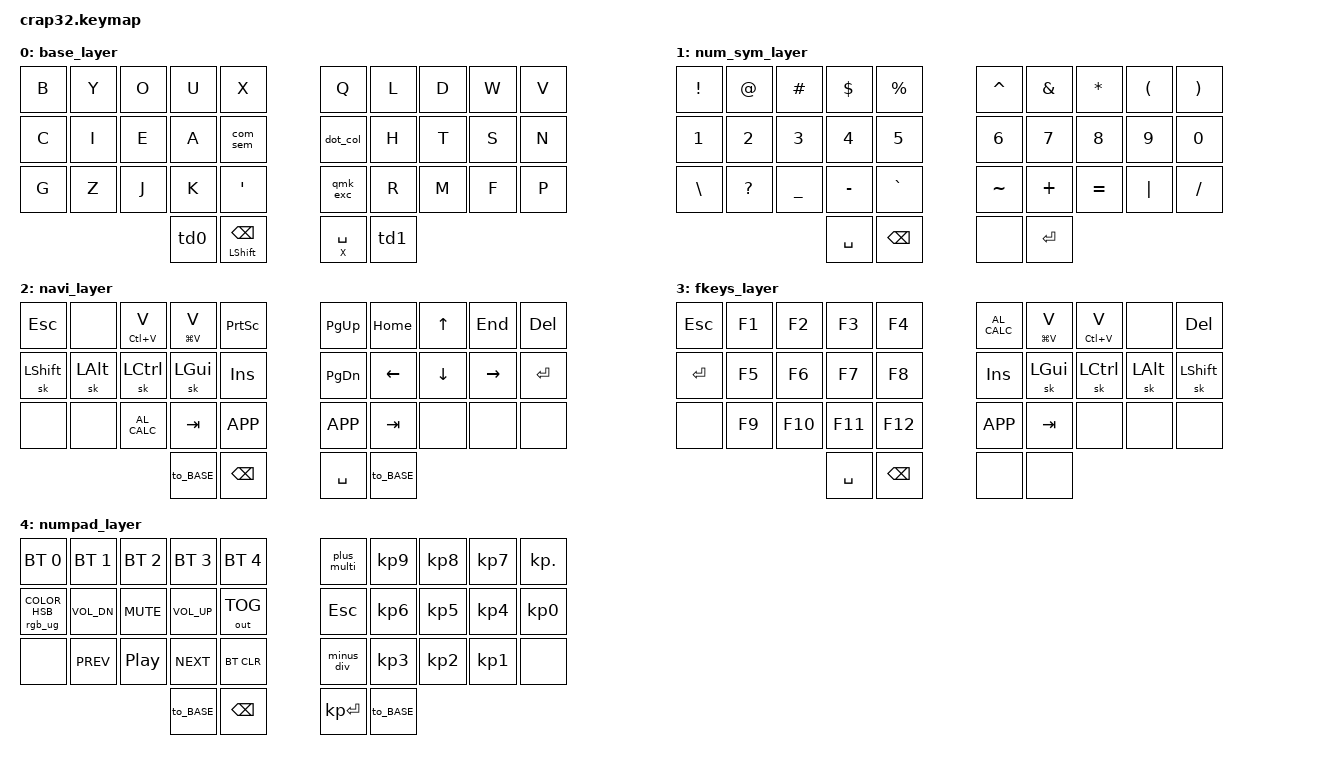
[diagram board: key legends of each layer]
/*
 * Copyright (c) 2021 The ZMK Contributors
 *
 * SPDX-License-Identifier: MIT
 */

#include <behaviors.dtsi>
#include <dt-bindings/zmk/keys.h>
#include <dt-bindings/zmk/bt.h>
#include <dt-bindings/zmk/rgb.h>
#include <dt-bindings/zmk/outputs.h>

#define _BASE    0
#define _NUM_SYM 1
#define _NAVI    2
#define _FKEYS   3
#define _NUMPAD  4

&sk {
    quick-release;
};

/ {
    macros {
        to_BASE: to_BASE {
            label = "ZM_to_BASE";
            compatible = "zmk,behavior-macro";
            #binding-cells = <0>;
            wait-ms = <0>;
            tap-ms = <0>;
            bindings
                = <&rgb_ug RGB_COLOR_HSB(30,95,2)>
                , <&to _BASE>
                ;
        };

        to_NAVI: to_NAVI {
            label = "ZM_to_NAVI";
            compatible = "zmk,behavior-macro";
            #binding-cells = <0>;
            wait-ms = <0>;
            tap-ms = <0>;
            bindings
                = <&rgb_ug RGB_COLOR_HSB(80,100,2)>
                , <&to _NAVI>
                ;
        };

        mo_NAVI: mo_NAVI {
            label = "ZM_mo_NAVI";
            compatible = "zmk,behavior-macro";
            #binding-cells = <0>;
            wait-ms = <0>;
            tap-ms = <0>;
            bindings
                = <&macro_tap &rgb_ug RGB_COLOR_HSB(80,100,2)>
                , <&macro_press &mo _NAVI>
                , <&macro_pause_for_release>
                , <&macro_tap &rgb_ug RGB_COLOR_HSB(30,95,2)>
                , <&macro_release &mo _NAVI>
                ;
        };

        mo_NUM_SYM: mo_NUM_SYM {
            label = "ZM_mo_NUM_SYM";
            compatible = "zmk,behavior-macro";
            #binding-cells = <0>;
            wait-ms = <0>;
            tap-ms = <0>;
            bindings
                = <&macro_tap &rgb_ug RGB_COLOR_HSB(10,95,2)>
                , <&macro_press &mo _NUM_SYM>
                , <&macro_pause_for_release>
                , <&macro_tap &rgb_ug RGB_COLOR_HSB(30,95,2)>
                , <&macro_release &mo _NUM_SYM>
                ;
        };

        mo_FKEYS: mo_FKEYS {
            label = "ZM_mo_FKEYS";
            compatible = "zmk,behavior-macro";
            #binding-cells = <0>;
            wait-ms = <0>;
            tap-ms = <0>;
            bindings
                = <&macro_tap &rgb_ug RGB_COLOR_HSB(270,100,2)>
                , <&macro_press &mo _FKEYS>
                , <&macro_pause_for_release>
                , <&macro_tap &rgb_ug RGB_COLOR_HSB(30,95,2)>
                , <&macro_release &mo _FKEYS>
                ;
        };

        to_NUMPAD: to_NUMPAD {
            label = "ZM_to_NUMPAD";
            compatible = "zmk,behavior-macro";
            #binding-cells = <0>;
            wait-ms = <0>;
            tap-ms = <0>;
            bindings
                = <&rgb_ug RGB_COLOR_HSB(200,100,2)>
                , <&to _NUMPAD>
                ;
        };

        to_BOOT: to_BOOT {
            label = "ZM_to_BOOT";
            compatible = "zmk,behavior-macro";
            #binding-cells = <0>;
            bindings
                = <&rgb_ug RGB_COLOR_HSB(0,100,50)>
                , <&rgb_ug RGB_ON>
                , <&bootloader>
                ;
        };
    };

    combos {
        compatible = "zmk,combos";
        combo_RESET_L {
            timeout-ms = <50>;
            key-positions = <4 14 23>;
            bindings = <&rch A A>;
            layers = <_NAVI>;
        };

        combo_RESET_R {
            timeout-ms = <50>;
            key-positions = <5 15>;
        //    bindings = <&rch A A>;
            bindings = <&rgb_ug RGB_EFF>;
            // layers = <_FKEYS>;
        };

        combo_ESC {
            timeout-ms = <50>;
            key-positions = <1 3>;
            bindings = <&kp ESC>;
            layers = <_BASE _NUM_SYM>;
        };

        combo_TAB {
            timeout-ms = <50>;
            key-positions = <11 13>;
            bindings = <&kp TAB>;
            layers = <_BASE _NUM_SYM>;
        };

        combo_DEL {
            timeout-ms = <50>;
            key-positions = <6 8>;
            bindings = <&kp DEL>;
            layers = <_BASE _NUM_SYM>;
        };
            
        combo_RET {
            timeout-ms = <50>;
            key-positions = <16 18>;
            bindings = <&kp RET>;
            layers = <_BASE _NUM_SYM>;
        };
            
        combo_X {
            timeout-ms = <50>;
            key-positions = <17 18>;
            bindings = <&kp X>;
            layers = <_BASE _NUM_SYM>;
        };

        combo_lAltGr {
            timeout-ms = <50>;
            key-positions = <10 20>;
            bindings = <&kp RALT>;
            layers = <_BASE _NUM_SYM>;
        };

        combo_rAltGr {
            timeout-ms = <50>;
            key-positions = <19 27>;
            bindings = <&kp RALT>;
            layers = <_BASE _NUM_SYM>;
        };
          
        combo_LPAR {
            timeout-ms = <45>;
            key-positions = <12 13>;
            bindings = <&kp LPAR>;
            layers = <_BASE _NUM_SYM>;
        };

        combo_RPAR {
            timeout-ms = <45>;
            key-positions = <16 17>;
            bindings = <&kp RPAR>;
            layers = <_BASE _NUM_SYM>;
        };

        combo_LBRC {
            timeout-ms = <45>;
            key-positions = <2 3>;
            bindings = <&kp LBRC>;
            layers = <_BASE _NUM_SYM>;
        };

        combo_RBRC {
            timeout-ms = <45>;
            key-positions = <6 7>;
            bindings = <&kp RBRC>;
            layers = <_BASE _NUM_SYM>;
        };

        combo_LBKT {
            timeout-ms = <45>;
            key-positions = <21 22>;
            bindings = <&kp LBKT>;
            layers = <_BASE _NUM_SYM>;
        };

        combo_RBKT {
            timeout-ms = <45>;
            key-positions = <25 26>;
            bindings = <&kp RBKT>;
            layers = <_BASE _NUM_SYM>;
        };

        combo_FSLH {
            timeout-ms = <45>;
            key-positions = <7 8>;
            bindings = <&kp FSLH>;
            layers = <_BASE _NUM_SYM>;
        };

        combo_BSLH {
            timeout-ms = <45>;
            key-positions = <1 2>;
            bindings = <&kp BSLH>;
            layers = <_BASE _NUM_SYM>;
        };

        combo_GT {
            timeout-ms = <45>;
            key-positions = <26 27>;
            bindings = <&kp GT>;
            layers = <_BASE _NUM_SYM>;
        };

        combo_LT {
            timeout-ms = <45>;
            key-positions = <20 21>;
            bindings = <&kp LT>;
            layers = <_BASE _NUM_SYM>;
        };
    };

    behaviors {
        td0: tap_dance_0 {
            compatible = "zmk,behavior-tap-dance";
            label = "LOCK_NAVI";
            #binding-cells = <0>;
            tapping-term-ms = <400>;
            bindings = <&mo_NAVI>, <&to_NAVI>;
        };
 
        td1: tap_dance_1 {
            compatible = "zmk,behavior-tap-dance";
            label = "LOCK_NUMPAD";
            #binding-cells = <0>;
            tapping-term-ms = <400>;
            bindings = <&mo_FKEYS>, <&to_NUMPAD>;
        };

        td3: tap_dance_3 {
            compatible = "zmk,behavior-tap-dance";
            label = "CTRL_COPY_CUT";
            #binding-cells = <0>;
            tapping-term-ms = <400>;
            bindings = <&kp LC(C)>, <&kp LC(X)>;
        };

        td4: tap_dance_4 {
            compatible = "zmk,behavior-tap-dance";
            label = "GUI_COPY_CUT";
            #binding-cells = <0>;
            tapping-term-ms = <400>;
            bindings = <&kp LG(C)>, <&kp LG(X)>;
        };

        ctrl_v: ctrl_v {
                compatible = "zmk,behavior-hold-tap";
                label = "CTRL_PASTA_HOLD";
                #binding-cells = <2>;
                flavor = "tap-preferred";
                tapping-term-ms = <400>;
                bindings = <&kp>, <&td3>;
        };

        gui_v: gui_v {
                compatible = "zmk,behavior-hold-tap";
                label = "GUI_PASTA_HOLD";
                #binding-cells = <2>;
                flavor = "tap-preferred";
                tapping-term-ms = <400>;
                bindings = <&kp>, <&td4>;
        };

        bspctap: backsapce-tap {
                compatible = "zmk,behavior-hold-tap";
                label = "BSPC_TAP_LSHIFT_HOLD";
                #binding-cells = <2>;
                flavor = "balanced";
                tapping-term-ms = <180>;
                quick-tap-ms = <180>;
                // global-quick-tap;
                bindings = <&kp>, <&kp>;
        };

        spctap: space-tap {
                compatible = "zmk,behavior-hold-tap";
                label = "SPACE_TAP_MO_SYM_HOLD";
                #binding-cells = <2>;
                flavor = "balanced";
                tapping-term-ms = <180>;
                quick-tap-ms = <180>;
                // global-quick-tap;
                bindings = <&mo_NUM_SYM>, <&kp>;
        };

        rch: reset-combo-hold {
                compatible = "zmk,behavior-hold-tap";
                label = "RESET_COMBO_HOLD";
                #binding-cells = <2>;
                flavor = "tap-preferred";
                tapping-term-ms = <2500>;
                bindings = <&to_BOOT>, <&sys_reset>;
        };

        com_sem: comma_semicolon {
            compatible = "zmk,behavior-mod-morph";
            label = "COMMA_SEMI";
            #binding-cells = <0>;
            bindings = <&kp COMMA>, <&kp SEMI>;
            mods = <(MOD_LSFT)>;
        };

        dot_col: dot_colon {
            compatible = "zmk,behavior-mod-morph";
            label = "DOT_COLON";
            #binding-cells = <0>;
            bindings = <&kp DOT>, <&kp COLON>;
            mods = <(MOD_LSFT)>;
        };
        
        qmk_exc: qmark_excl {
            compatible = "zmk,behavior-mod-morph";
            label = "QMARK_EXCL";
            #binding-cells = <0>;
            bindings = <&kp QMARK>, <&kp EXCL>;
            mods = <(MOD_LSFT)>;
        };

        plus_multi: plus_multiply {
            compatible = "zmk,behavior-tap-dance";
            label = "PLUS_MULTIPLY";
            #binding-cells = <0>;
            tapping-term-ms = <400>;
            bindings = <&kp KP_PLUS>, <&kp KP_MULTIPLY>;
        };

        minus_div: minus_divide {
            compatible = "zmk,behavior-tap-dance";
            label = "MINUS_DIVIDE";
            #binding-cells = <0>;
            tapping-term-ms = <400>;
            bindings = <&kp KP_MINUS>, <&kp KP_DIVIDE>;
        };
    };

    keymap {
        compatible = "zmk,keymap";

                base_layer {
// -------------------------------    -------------------------------
// |  B  |  Y  |  O  |  U  |  X  |    |  Q  |  L  |  D  |  W  |  V  |
// |  C  |  I  |  E  |  A  | , ; |    | . : |  H  |  T  |  S  |  N  |
// |  G  |  Z  |  J  |  K  | ' " |    | ? ! |  R  |  M  |  F  |  P  |
//         | _NAVI | SHIFT(BSPC) |    | _NUM_SYM(SPC) | _FKEYS(_NUMPAD) |
                        bindings = <
   &kp B &kp Y &kp O &kp U &kp X      &kp Q    &kp L &kp D &kp W &kp V
   &kp C &kp I &kp E &kp A &com_sem   &dot_col &kp H &kp T &kp S &kp N
   &kp G &kp Z &kp J &kp K &kp SQT    &qmk_exc &kp R &kp M &kp F &kp P
         &td0 &bspctap LSHIFT BSPC    &spctap X SPACE &td1
                        >;
                };

                num_sym_layer {
// -------------------------------    -------------------------------
// |  !  |  @  |  #  |  $  |  %  |    |  ^  |  &  |  *  |  (  |  )  |
// |  1  |  2  |  3  |  4  |  5  |    |  6  |  7  |  8  |  9  |  0  |
// |  \  |  ?  |  _  |  -  |  `  |    |  ~  |  +  |  =  |  |  |  /  |
//                  | SPC | BSPC |    |      | RET |
                        bindings = <
   &kp EXCL &kp AT    &kp HASH  &kp DLLR  &kp PRCNT      &kp CARET &kp AMPS  &kp ASTRK &kp LPAR  &kp RPAR
   &kp N1   &kp N2    &kp N3    &kp N4    &kp N5         &kp N6    &kp N7    &kp N8    &kp N9    &kp N0
   &kp BSLH &kp QMARK &kp UNDER &kp MINUS &kp GRAVE      &kp TILDE &kp PLUS  &kp EQUAL &kp PIPE  &kp FSLH
                                &kp SPACE &kp BSPC       &none     &kp RET
                        >;
                };

                navi_layer {
// ----------------------------------------    -----------------------------------
// | ESC    |      | c,v,x | c,v,x | PRSC |    | PGUP | HOME |  UP  | END  | DEL |
// | sSHIFT | sALT | sCTRL | sGUI  | INS  |    | PGDN | LEFT | DOWN | RGHT | RET |
// |        |      | CALC  | TAB   | APP  |    | APP  | TAB  |      |      |     |
//                         | _BASE | BSPC |    | SPACE | _BASE |
                        bindings = <
   &kp ESC    &none    &ctrl_v LC(V) V &gui_v LG(V) V &kp PSCRN      &kp PG_UP &kp HOME &kp UP   &kp END   &kp DEL
   &sk LSHIFT &sk LALT &sk LCTRL       &sk LGUI       &kp INS        &kp PG_DN &kp LEFT &kp DOWN &kp RIGHT &kp RET
   &none      &none    &kp C_AL_CALC   &kp TAB        &kp K_APP      &kp K_APP &kp TAB  &none    &none     &none
                                       &to_BASE       &kp BSPC       &kp SPACE &to_BASE
                        >;
                };
                
                fkeys_layer {
// ------------------------------    ----------------------------------------
// | ESC | F1 | F2  | F3  | F4  |    | CALC | c,v,x | c,v,x |      |  DEL   |
// | RET | F5 | F6  | F7  | F8  |    | INS  | sGUI  | sCTRL | sALT | sSHIFT |
// |     | F9 | F10 | F11 | F12 |    | APP  |  TAB  |       |      |        |
//                 | SPC | BSPC |    |      |       |
                        bindings = <
   &kp ESC &kp F1 &kp F2  &kp F3  &kp F4        &kp C_AL_CALC &gui_v LG(V) V &ctrl_v LC(V) V &none    &kp DEL
   &kp RET &kp F5 &kp F6  &kp F7  &kp F8        &kp INS       &sk LGUI       &sk LCTRL       &sk LALT &sk LSHIFT
   &none   &kp F9 &kp F10 &kp F11 &kp F12       &kp K_APP     &kp TAB        &none           &none    &none
                        &kp SPACE &kp BSPC      &none         &none
                        >;
                };

                numpad_layer {
// -------------------------------------------    -------------------------------
// | BT1     | BT2  | BT3   | BT4  | BT5     |    | + * |  7  |  8  |  9  |  .  |
// | RGB_EFF | VOL- | MUTE  | VOL+ | OUT_TOG |    | ESC |  4  |  5  |  6  |  0  |
// |         | PREV | PLAYP | NEXT | BT CLR  |    | - / |  1  |  2  |  3  |     |
//                           | _BASE | BKSPC |    | ENTER | _BASE |
                        bindings = <
   &bt BT_SEL 0    &bt BT_SEL 1 &bt BT_SEL 2 &bt BT_SEL 3 &bt BT_SEL 4      &plus_multi   &kp KP_N9  &kp KP_N8  &kp KP_N7    &kp KP_DOT
   &rgb_ug RGB_COLOR_HSB(30,95,2) &kp C_VOL_DN &kp C_MUTE   &kp C_VOL_UP &out OUT_TOG      &kp ESC       &kp KP_N6  &kp KP_N5  &kp KP_N4  &kp KP_N0
   &none           &kp C_PREV   &kp C_PP     &kp C_NEXT   &bt BT_CLR        &minus_div    &kp KP_N3  &kp KP_N2  &kp KP_N1    &none
                                             &to_BASE     &kp BSPC          &kp KP_ENTER  &to_BASE
                        >;
                };                
    };
};
